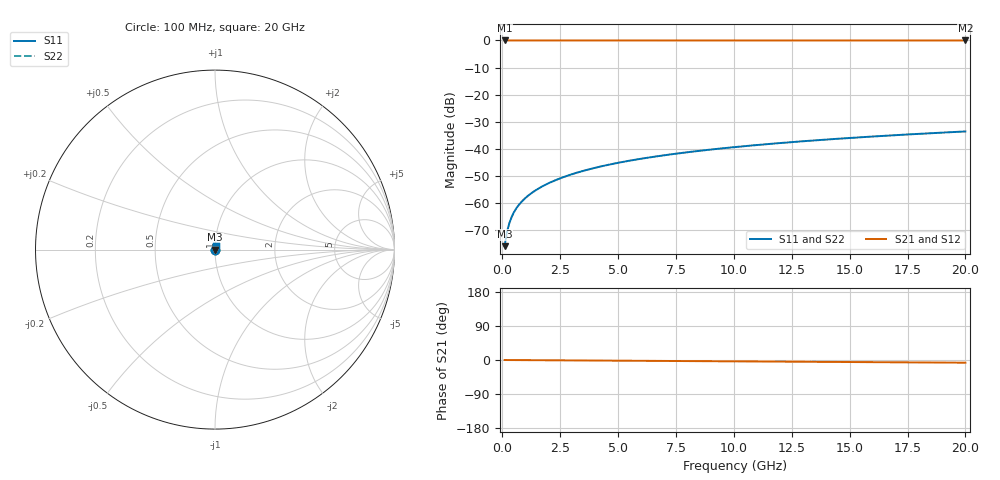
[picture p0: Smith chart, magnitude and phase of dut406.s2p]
! Touchstone file exported from HFSS 2026.1.0
!  File:  C:/ffzhzh/LocalFiles/Ansys_Project_Files/temp_train_TSV_406_1783020426_46388.aedt
!  Generated:  03:28:47 AM Jul  3, 2026
!  Design:  TSV
!  Project:  temp_train_TSV_406_1783020426_46388
! Variables:
!  h_bsmrdl = 2um
!  h_ox = 20um
!  h_rdl = 5um
!  h_sub = 64.47um
!  h_tmrdl = 5um
!  h_tsv = 64.47um
!  h_via = 3um
!  l_bsmrdl = 300um
!  l_sub = 424.7um
!  l_tmrdl = 200um
!  m_sub = 200um
!  pitch = 58.87um
!  r_tsv = 12.35um
!  s_tmrdl = 10um
!  w_bsmrdl = 18um
!  w_sub = 500um
!  w_tmrdl = 12um
!  x_tsv_center1 = 206um
!  x_tsv_center2 = 524um
!  x_tsv_center3 = 736um
!  x_tsv_center4 = 1054um
!  x_tsv_center5 = 1266um
!  x_tsv_center6 = 1584um
# GHz S MA R 50.000000
! Terminal data exported
! Port[1] = TSV1_1_T1
! Port[2] = TSV1_1_T2
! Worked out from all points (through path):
!   200 points, 100 MHz to 20 GHz, reference 50 ohm
!   highest |S21| = 0.00 dB at 100 MHz (marker M1); lowest = 0.0 dB at 20 GHz (marker M2)
!   lowest |S11| = -76.0 dB at 100 MHz (marker M3), VSWR 1.00, Z = 50 + j0.0137 ohm
!   |S11| at or under -10 dB: start of sweep to end of sweep
!   |S22| runs from -76.0 to -33.6 dB; largest |S21 - S12| = 2.1e-15
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0.1  0.0001582 60.3  0.9999 -0.0  0.9999 -0.0  0.0001582 60.3
! Gamma 0 0 0 0
! Port Impedance 50 0 50 0
0.2  0.0002863 72.0  0.9999 -0.1  0.9999 -0.1  0.0002863 72.0
0.3  0.0004162 75.7  0.9999 -0.1  0.9999 -0.1  0.0004162 75.7
0.4  0.0005429 77.1  0.9999 -0.1  0.9999 -0.1  0.0005429 77.1
0.5  0.0006654 77.9  0.9999 -0.2  0.9999 -0.2  0.0006654 77.9
0.6  0.0007839 78.3  0.9998 -0.2  0.9998 -0.2  0.0007839 78.3
0.7  0.0008991 78.7  0.9998 -0.3  0.9998 -0.3  0.0008991 78.7
0.9  0.001122 79.3  0.9998 -0.3  0.9998 -0.3  0.001122 79.3
1.1  0.00134 79.9  0.9998 -0.4  0.9998 -0.4  0.00134 79.9
1.3  0.001555 80.4  0.9998 -0.5  0.9998 -0.5  0.001555 80.4
1.6  0.001875 81.1  0.9997 -0.6  0.9997 -0.6  0.001875 81.1
1.9  0.002196 81.7  0.9997 -0.7  0.9997 -0.7  0.002196 81.7
2.6  0.002943 82.6  0.9997 -0.9  0.9997 -0.9  0.002943 82.6
3.5  0.003902 83.2  0.9996 -1.3  0.9996 -1.3  0.003902 83.2
4.2  0.004643 83.4  0.9996 -1.5  0.9996 -1.5  0.004643 83.4
5  0.005486 83.5  0.9995 -1.8  0.9995 -1.8  0.005486 83.5
6.8  0.007365 83.5  0.9994 -2.4  0.9994 -2.4  0.007365 83.5
8.3  0.008919 83.3  0.9994 -3.0  0.9994 -3.0  0.008919 83.3
10.1  0.01077 83.0  0.9993 -3.6  0.9993 -3.6  0.01077 83.0
13.4  0.01415 82.2  0.9992 -4.8  0.9992 -4.8  0.01415 82.2
16.7  0.01751 81.4  0.999 -6.0  0.999 -6.0  0.01751 81.4
20  0.02083 80.4  0.9989 -7.1  0.9989 -7.1  0.02083 80.4
